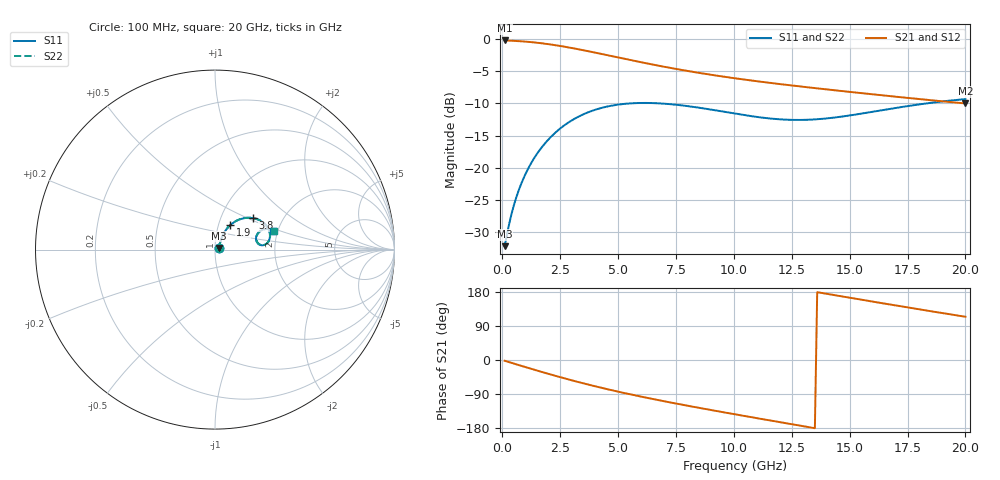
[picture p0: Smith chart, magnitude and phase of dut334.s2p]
! Touchstone file exported from HFSS 2024.1.0
!  File:  C:/UserFiles/LocalFiles/RDL_TSV_Batchsim/temp_RDL_TSV_334_1779632885.aedt
!  Generated:  11:16:48 PM May 24, 2026
!  Design:  RDL_TSV
!  Project:  temp_RDL_TSV_334_1779632885
!  Setup:  Setup1
!  Solution:  Sweep
! Variables:
!  dtsv = 5.02um
!  hbump = 3um
!  htsv = 61.36um
!  ldown = 649.52um
!  lrdl = 494.07um
!  p = 40
!  p1 = 46.95um
!  rhole = 10um
!  subl = 3924.84um
!  t = 450um
!  tdown = 3.07um
!  trdl = 3.97um
!  viad = 10um
!  wdown = 15.92um
!  wrdl = 26.16um
!  xbump = 18um
# GHz S MA R 50.000000
! Terminal data exported
! Port[1] = TM1_1_T1
! Port[2] = TM1_4_T1
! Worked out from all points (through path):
!   200 points, 100 MHz to 20 GHz, reference 50 ohm
!   highest |S21| = -0.20 dB at 100 MHz (marker M1); lowest = -10.0 dB at 20 GHz (marker M2)
!   group delay of S21, straight-line fit = 32.6 ps
!   lowest |S11| = -32.2 dB at 100 MHz (marker M3), VSWR 1.05, Z = 52.3 + j0.968 ohm
!   |S11| at or under -10 dB: start of sweep to 5.502 GHz; 6.822 GHz to 18.31 GHz (11.49 GHz wide, 91.4 % of centre)
!   |S22| runs from -32.2 to -9.3 dB; largest |S21 - S12| = 2.4e-14
!   S11 on the Smith chart (normalised r, x): 100 MHz: 1.05, +0.02; 1.9 GHz: 1.14, +0.31; 3.8 GHz: 1.41, +0.54; 20 GHz: 1.89, +0.45
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0.1  0.0245 22.2  0.9773 -2.0  0.9773 -2.0  0.0245 22.2
! Gamma 0 0 0 0
! Port Impedance 50 0 50 0
0.4  0.04371 50.8  0.9725 -7.6  0.9725 -7.6  0.04371 50.9
0.6  0.05839 57.1  0.9684 -11.4  0.9684 -11.4  0.05838 57.2
0.8  0.0736 60.2  0.9635 -15.1  0.9635 -15.1  0.07359 60.2
1  0.08914 61.4  0.9576 -18.8  0.9576 -18.8  0.08914 61.5
1.3  0.1127 61.5  0.947 -24.2  0.947 -24.2  0.1127 61.6
1.9  0.1589 58.3  0.9195 -35.0  0.9195 -35.0  0.159 58.4
2.7  0.2149 51.1  0.8731 -48.7  0.8731 -48.7  0.2152 51.3
3.5  0.2602 42.9  0.8206 -61.6  0.8206 -61.6  0.2608 43.1
3.8  0.2738 39.8  0.8003 -66.2  0.8003 -66.2  0.2745 40.0
4.5  0.2982 32.9  0.7533 -76.5  0.7533 -76.5  0.2991 33.1
5.3  0.314 25.6  0.7023 -87.6  0.7023 -87.6  0.3152 25.8
6  0.3189 20.0  0.6613 -96.7  0.6613 -96.7  0.3203 20.3
6.8  0.3164 14.7  0.6193 -106.6  0.6193 -106.6  0.318 14.9
8.4  0.2946 7.4  0.5503 -125.2  0.5503 -125.2  0.2965 7.6
10.1  0.2626 5.2  0.4947 -143.9  0.4947 -143.9  0.2647 5.4
11.7  0.2401 8.6  0.4539 -161.0  0.4539 -161.0  0.2422 8.6
13.4  0.237 15.4  0.4181 -178.9  0.4181 -178.9  0.2389 15.3
15.1  0.2564 21.0  0.3872 163.3  0.3872 163.3  0.2581 20.8
16.7  0.2859 22.7  0.3612 146.9  0.3612 146.9  0.2874 22.5
18.3  0.316 21.4  0.3378 130.8  0.3378 130.8  0.3173 21.2
20  0.3416 18.1  0.3161 114.1  0.3161 114.1  0.3428 18.0
